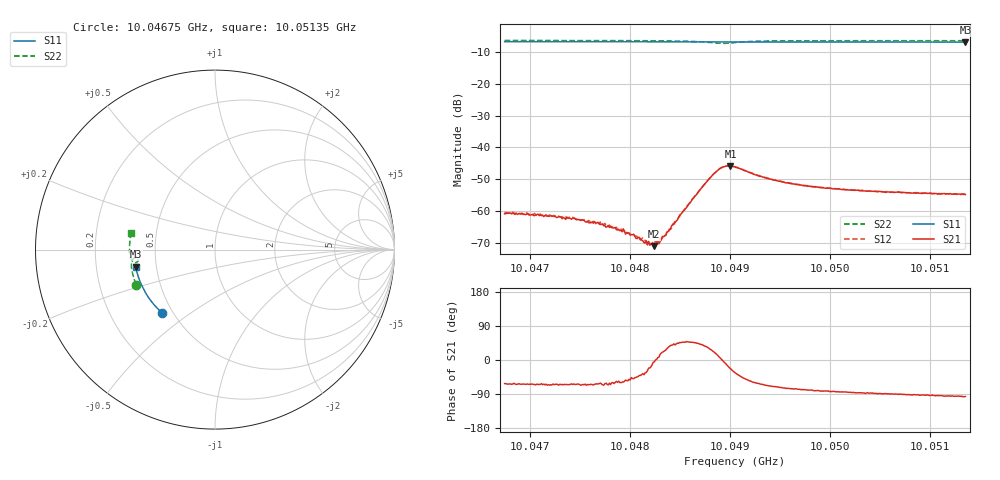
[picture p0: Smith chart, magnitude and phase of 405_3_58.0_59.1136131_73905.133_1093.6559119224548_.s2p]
#  HZ  S  RI  R  50.00
! Rohde & Schwarz Vector Network Analyzer
! Rohde-Schwarz,ZNB20-2Port,1311601062101988,3.16
! Created: UTC 3/21/2024, 1:08:25 AM
! freq[Hz]  re:S11  im:S11  re:S21  im:S21  re:S12  im:S12  re:S22  im:S22
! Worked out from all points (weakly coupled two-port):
!   401 points, 10.04675 GHz to 10.05135 GHz, reference 50 ohm
!   highest |S21| = -45.86 dB at 10.049 GHz (marker M1); lowest = -71.1 dB at 10.04824 GHz (marker M2)
!   lowest |S11| = -6.9 dB at 10.05135 GHz (marker M3), VSWR 2.65, Z = 19.1 - j4.54 ohm
!   |S11| at or under -10 dB: nowhere
!   |S22| runs from -7.3 to -6.4 dB; largest |S21 - S12| = 0.00036
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1.0046747e10  -0.2949 -0.3531  0.000419 -0.000797  0.000503 -0.000813  -0.4389 -0.1949
1.0047231e10  -0.3179 -0.331  0.000373 -0.000746  0.000384 -0.000736  -0.4505 -0.1643
1.0047415e10  -0.3265 -0.3223  0.000335 -0.000657  0.000357 -0.000711  -0.4541 -0.1522
1.0047518e10  -0.331 -0.3171  0.000301 -0.000661  0.000355 -0.000618  -0.4563 -0.1452
1.0047588e10  -0.3342 -0.3138  0.000273 -0.000593  0.000341 -0.000619  -0.4574 -0.1406
1.0047668e10  -0.3376 -0.3097  0.000295 -0.000574  0.000297 -0.000528  -0.4588 -0.135
1.0047726e10  -0.34 -0.3069  0.000258 -0.000566  0.000326 -0.000525  -0.4597 -0.1311
1.0047933e10  -0.3487 -0.2963  0.000275 -0.000443  0.000282 -0.000402  -0.4631 -0.1165
1.0048129e10  -0.3565 -0.2862  0.000273 -0.000198  0.000322 -0.000193  -0.465 -0.1022
1.0048186e10  -0.3589 -0.2831  0.000314 -0.000123  0.000279 -0.000113  -0.4656 -0.0975
1.0048244e10  -0.3612 -0.28  0.000277 -2.38e-05  0.000317 -1e-05  -0.4659 -0.093
1.004829e10  -0.3631 -0.2776  0.0003 4.1e-05  0.000317 7.62e-05  -0.4662 -0.0893
1.0048394e10  -0.3669 -0.272  0.000407 0.000295  0.000412 0.000312  -0.4661 -0.0806
1.0048567e10  -0.3731 -0.2625  0.00075 0.000852  0.000748 0.000913  -0.4633 -0.0644
1.0048808e10  -0.3814 -0.2489  0.00301 0.00156  0.00293 0.00178  -0.4426 -0.0449
1.0048912e10  -0.3849 -0.2431  0.00475 0.000244  0.00476 0.000519  -0.4287 -0.0537
1.0049004e10  -0.388 -0.2383  0.0047 -0.00197  0.00482 -0.00166  -0.4326 -0.0685
1.004905e10  -0.3895 -0.2356  0.00411 -0.00272  0.00429 -0.00247  -0.4393 -0.072
1.0049419e10  -0.4011 -0.2146  0.0011 -0.00292  0.00127 -0.00286  -0.4702 -0.0459
1.0049822e10  -0.4123 -0.1905  0.000448 -0.00238  0.000553 -0.00235  -0.4757 -0.0134
1.0050594e10  -0.4299 -0.143  2.83e-05 -0.00197  0.000117 -0.00198  -0.4746 0.0412
1.0051354e10  -0.4419 -0.0949  -0.0002 -0.0018  -9.66e-05 -0.00182  -0.4673 0.0918
